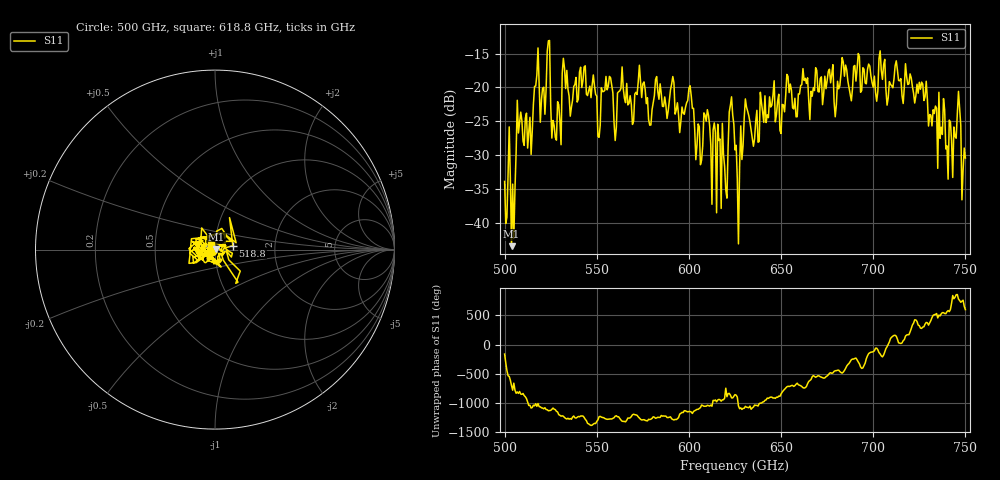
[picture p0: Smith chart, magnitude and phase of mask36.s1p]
!Created with skrf (http://scikit-rf.org).
# GHz S MA R 50.0
!freq magS11 angS11
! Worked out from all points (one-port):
!   401 points, 500 GHz to 750 GHz, reference 50 ohm
!   lowest |S11| = -43.5 dB at 503.8 GHz (marker M1), VSWR 1.01, Z = 50.7 + j0.168 ohm
!   |S11| at or under -10 dB: start of sweep to end of sweep
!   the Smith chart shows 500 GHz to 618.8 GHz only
!   S11 on the Smith chart (normalised r, x): 500 GHz: 0.96, -0.01; 518.8 GHz: 1.22, +0.05; 618.8 GHz: 0.96, +0.05
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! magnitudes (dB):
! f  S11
! 500 GHz  -33.9
! 503.8 GHz  -43.5
! 505 GHz  -42.3
! 508.1 GHz  -25.2
! 513.8 GHz  -24.4
! 518.8 GHz  -19.9
! 523.8 GHz  -13.1
! 526.9 GHz  -25.6
! 531.2 GHz  -17.9
! 542.5 GHz  -19.0
! 550.6 GHz  -27.2
! 562.5 GHz  -20.5
! 593.8 GHz  -22.3
! 600.6 GHz  -19.8
! 605 GHz  -25.4
! 609.4 GHz  -25.0
! 618.8 GHz  -29.9
! 623.1 GHz  -21.4
! 625 GHz  -29.2
! 626.2 GHz  -33.5
! 631.2 GHz  -22.9
! 635 GHz  -28.7
! 656.2 GHz  -23.0
! 687.5 GHz  -21.0
! 718.8 GHz  -19.6
! 741.9 GHz  -25.1
! 746.2 GHz  -20.6
! 750 GHz  -30.4
